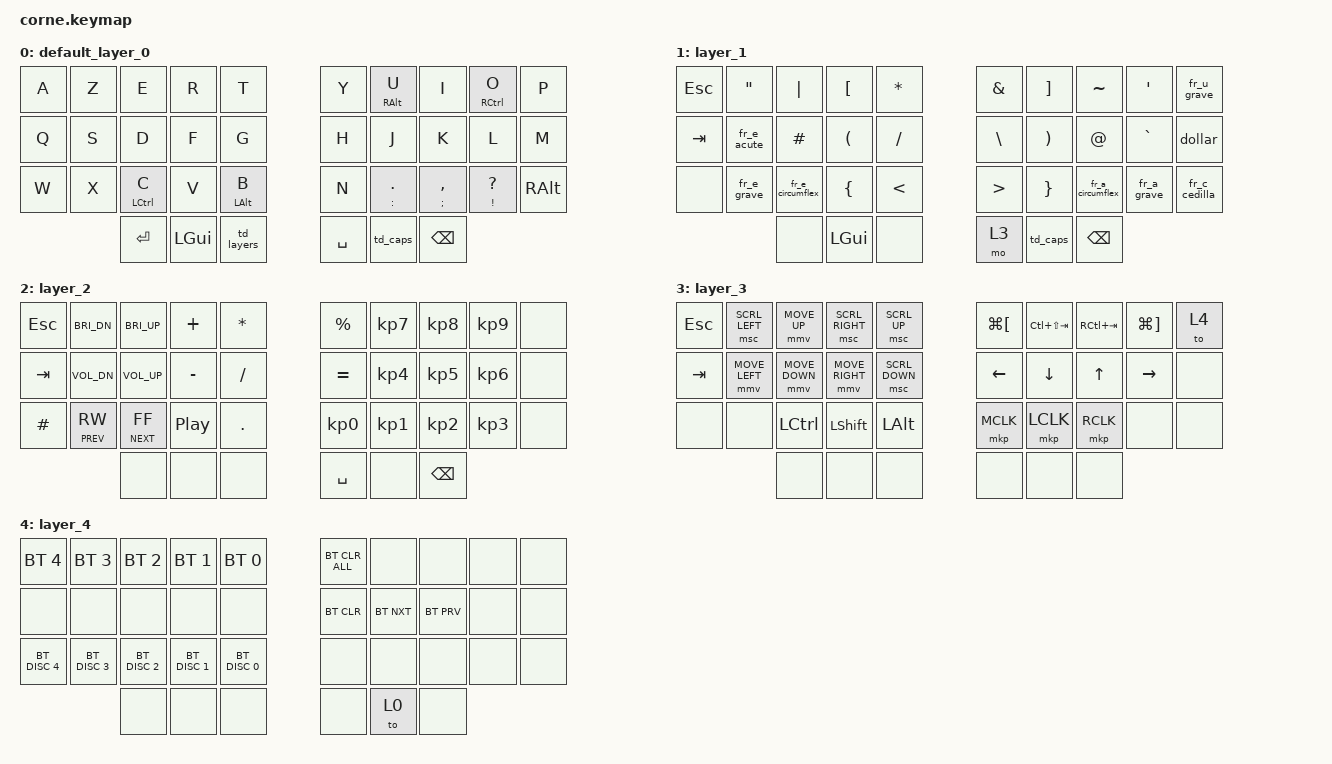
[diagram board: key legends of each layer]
/*
 * Copyright (c) 2020 The ZMK Contributors
 *
 * SPDX-License-Identifier: MIT
 */

#include <behaviors.dtsi>
#include <dt-bindings/zmk/keys.h>
#include <dt-bindings/zmk/bt.h>
#include <dt-bindings/zmk/pointing.h>

#include "../zmk-nodefree-config/helper.h"
#include "../zmk-nodefree-config/international_chars/french.dtsi"

ZMK_UNICODE_SINGLE(dollar, N0, N0, N2, N4)

/*

#define U_MOUSE_MOVE_MAX 2000                      <--- New max speed setting (default: 600)
#undef MOVE_UP
#undef MOVE_DOWN
#undef MOVE_LEFT
#undef MOVE_RIGHT
#define MOVE_UP MOVE_Y(-U_MOUSE_MOVE_MAX)
#define MOVE_DOWN MOVE_Y(U_MOUSE_MOVE_MAX)
#define MOVE_LEFT MOVE_X(-U_MOUSE_MOVE_MAX)
#define MOVE_RIGHT MOVE_X(U_MOUSE_MOVE_MAX)
tta

#define U_MOUSE_SCROLL_MAX 100                     <--- New max speed setting (default: 10) 
#undef SCROLL_UP
#undef SCROLL_DOWN
#undef SCROLL_LEFT
#undef SCROLL_RIGHT
#define SCROLL_UP SCROLL_Y(U_MOUSE_SCROLL_MAX)
#define SCROLL_DOWN SCROLL_Y(-U_MOUSE_SCROLL_MAX)
#define SCROLL_LEFT SCROLL_X(-U_MOUSE_SCROLL_MAX)
#define SCROLL_RIGHT SCROLL_X(U_MOUSE_SCROLL_MAX)

&mmv {
   time-to-max-speed-ms = <500>;
   acceleration-exponent=<1>;
};

&msc {
  time-to-max-speed-ms = <500>;                  <--- How long time until max speed is reached 
};
*/

/ {
        chosen {
                zmk,matrix_transform = &five_column_transform;
        };

        behaviors {
                hm: homerow_mods {
                        compatible = "zmk,behavior-hold-tap";
                        #binding-cells = <2>;
                        tapping-term-ms = <400>;
                        quick_tap_ms = <0>;
                        flavor = "tap-preferred";
                        bindings = <&kp>, <&kp>;
                };
                td_caps: tap_dance_caps {
                        compatible = "zmk,behavior-tap-dance";
                        #binding-cells = <0>;
                        tapping-term-ms = <200>;
                        bindings = <&sk RSHFT>, <&caps_word>;
                };
                td_layers: tap_dance_layers {
                        compatible = "zmk,behavior-tap-dance";
                        #binding-cells = <0>;
                        tapping-term-ms = <200>;
                        bindings = <&mo 1>, <&mo 2>;
                };
        };

        combos {
                compatible = "zmk,combos";
                combo-equal {
                        timeout-ms = <50>;
                        key-positions = <25 26>;
                        bindings = <&kp EQUAL>;
                        layers = <0>;
                };
                combo-minus {
                        timeout-ms = <50>;
                        key-positions = <26 27>;
                        bindings = <&kp MINUS>;
                        layers = <0>;
                };
                combo-underscore {
                        timeout-ms = <50>;
                        key-positions = <27 28>;
                        bindings = <&kp UNDERSCORE>;
                        layers = <0>;
                };
        };

        keymap {
                compatible = "zmk,keymap";

                default_layer_0 {
                // ------------------------------------      ----------------------------------------
                // |  A  |  Z  |   E    |  R  |   T   |      |  Y  | U ALT  |   I    | O CTRL |  P  |
                // |  Q  |  S  |   D    |  F  |   G   |      |  H  |   J    |   K    |   L    |  M  |
                // |  W  |  X  | C CTRL |  V  | B ALT |      |  N [=] . :  [-] , ;  [_]  ? !  | ALT |
                //             |  ENT   | GUI | [1 2] |      | SPC | RSHFT  |  BKSP  |

                        bindings = <
                                &kp A &kp Z &kp E &kp R &kp T                   &kp Y &hm RALT U &kp I &hm RCTRL O &kp P   
                                &kp Q &kp S &kp D &kp F &kp G                   &kp H &kp J &kp K &kp L &kp M
                                &kp W &kp X &hm LCTRL C &kp V &hm LALT B        &kp N &mt COLON DOT &mt SEMI COMMA &mt EXCL QMARK &kp RALT
                                &kp RET &kp LGUI &td_layers                     &kp SPACE &td_caps &kp BSPC
                        >;
                };

                layer_1 {
                // -------------------------------      ----------------------------------
                // | ESC |  "  |  |  |  [  |  *  |      |  &  |   ]   |  ~   |  '  |  ù  |
                // | TAB |  é  |  #  |  (  |  /  |      |  \  |   )   |  @   |  `  |  $  |
                // |     |  è  |  ê  |  {  |  <  |      |  >  |   }   |  â   |  à  |  ç  |
                //             |     | GUI |     |      | [3] | RSHFT | BKSP |

                        bindings = <
                                &kp ESC &kp DQT &kp PIPE &kp LBKT &kp STAR              &kp AMPS &kp RBKT &kp TILDE &kp APOS &fr_u_grave
                                &kp TAB &fr_e_acute &kp HASH &kp LPAR &kp FSLH          &kp BSLH &kp RPAR &kp AT &kp GRAVE &dollar
                                &none &fr_e_grave &fr_e_circumflex &kp LBRC &kp LT      &kp GT &kp RBRC &fr_a_circumflex &fr_a_grave &fr_c_cedilla 
                                &none &kp LGUI &none                                    &mo 3 &td_caps &kp BSPC
                        >;
                };

                layer_2 {
                // ----------------------------------      --------------------------------
                // | ESC | LUM- | LUM+ |  +   |  *  |      |  %  |  7  |  8   |  9  |     |
                // | TAB | VOL- | VOL+ |  -   |  /  |      |  =  |  4  |  5   |  6  |     |
                // |  #  | BSKP | FSKP | PLAY |  .  |      |  0  |  1  |  2   |  3  |     |
                //              |      |      |     |      | SPC |     | BKSP |

                        bindings = <
                                &kp ESC &kp C_BRI_DN &kp C_BRI_UP &kp PLUS &kp STAR             &kp PRCNT &kp KP_N7 &kp KP_N8 &kp KP_N9 &none
                                &kp TAB &kp C_VOL_DN &kp C_VOL_UP &kp MINUS &kp FSLH            &kp EQUAL &kp KP_N4 &kp KP_N5 &kp KP_N6 &none
                                &kp HASH &mt C_PREV C_RW &mt C_NEXT C_FF &kp C_PP &kp DOT       &kp KP_N0 &kp KP_N1 &kp KP_N2 &kp KP_N3 &none
                                &none &none &none                                               &kp SPACE &none &kp BSPC
                        >;
                };

                layer_3 {
                // ---------------------------------------      ----------------------------------
                // | ESC | LSCRL | UMOUS | RSCRL | USCRL |      | BCK  | PTAB | NTAB | FWD | [4] |
                // | TAB | LMOUS | DMOUS | RMOUS | DSCRL |      | LFT  | DOWN |  UP  | RGT |     |
                // |     |       | CTRL  | SHIFT |  ALT  |      | MCLK | LCLK | RCLK |     |     |
                //               |       |       |       |      |      |      |      |

                        bindings = <
                                &kp ESC &msc SCRL_LEFT &mmv MOVE_UP &msc SCRL_RIGHT &msc SCRL_UP        &kp LG(LBKT) &kp LC(LS(TAB)) &kp RC(TAB) &kp LG(RBKT) &to 4
                                &kp TAB &mmv MOVE_LEFT &mmv MOVE_DOWN &mmv MOVE_RIGHT &msc SCRL_DOWN    &kp LEFT &kp DOWN &kp UP &kp RIGHT &none
                                &none &none &kp LCTRL &kp LSHFT &kp LALT                                &mkp MCLK &mkp LCLK &mkp RCLK &none &none
                                &none &none &none                                                       &none &none &none
                        >;
                };

                layer_4 {
                // ------------------------------------      -----------------------------------------
                // | BC_4 | BC_3 | BC_2 | BC_1 | BC_0 |      | BT_ACLR |        |        |     |     |
                // |      |      |      |      |      |      | BT_CLR  | BT_NXT | BT_PRV |     |     |
                // | BD_4 | BD_3 | BD_2 | BD_1 | BD_0 |      |         |        |        |     |     |
                //               |      |      |      |      |         |  [0]   |        |

                        bindings = <
                                &bt BT_SEL 4 &bt BT_SEL 3 &bt BT_SEL 2 &bt BT_SEL 1 &bt BT_SEL 0        &bt BT_CLR_ALL &none &none &none &none
                                &none &none &none &none &none                                           &bt BT_CLR &bt BT_NXT &bt BT_PRV &none &none
                                &bt BT_DISC 4 &bt BT_DISC 3 &bt BT_DISC 2 &bt BT_DISC 1 &bt BT_DISC 0   &none &none &none &none &none
                                &none &none &none                                                       &none &to 0 &none
                        >;
                };
        };
};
